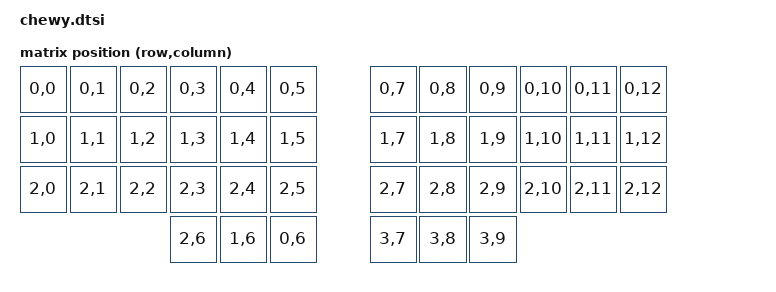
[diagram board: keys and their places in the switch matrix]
#include <dt-bindings/zmk/matrix_transform.h>

/ {
    chosen {
        zmk,kscan = &kscan0;
        zmk,split = &split;
        zmk,matrix-transform = &default_transform;
    };

    /omit-if-no-ref/ zip_temp_layer: zip_temp_layer {
        compatible = "zmk,input-processor-temp-layer";
        #input-processor-cells = <2>;
        require-prior-idle-ms = <500>;
        excluded-positions = <15 16 28 14>; // Adjust if needed for your keymap
    };

    default_transform: default_transform {
        compatible = "zmk,matrix-transform";
        columns = <13>;
        rows = <4>;
        map = <
            RC(0,0) RC(0,1) RC(0,2) RC(0,3) RC(0,4) RC(0,5)    RC(0,7) RC(0,8) RC(0,9) RC(0,10) RC(0,11) RC(0,12) 
            RC(1,0) RC(1,1) RC(1,2) RC(1,3) RC(1,4) RC(1,5)    RC(1,7) RC(1,8) RC(1,9) RC(1,10) RC(1,11) RC(1,12)
            RC(2,0) RC(2,1) RC(2,2) RC(2,3) RC(2,4) RC(2,5)    RC(2,7) RC(2,8) RC(2,9) RC(2,10) RC(2,11) RC(2,12)
                                    RC(2,6) RC(1,6) RC(0,6)    RC(3,7) RC(3,8) RC(3,9)
                                            
        >;
    };

    kscan0: kscan0 {
        compatible = "zmk,kscan-gpio-matrix";
        diode-direction = "col2row";
        wakeup-source;
    };

    soft_off_wakers {
        compatible = "zmk,soft-off-wakeup-sources";
        wakeup-sources = <&kscan0>;
    };

    split: split {
        compatible = "zmk,split";
    };

    split_inputs {
        #address-cells = <1>;
        #size-cells = <0>;

        trackball_split: trackball_split@0 {
            compatible = "zmk,input-split";
            reg = <0>;
        };
    };

    trackball_listener: trackball_listener {
        compatible = "zmk,input-listener";
        status = "disabled";
        device = <&trackball_split>;
    };
};
